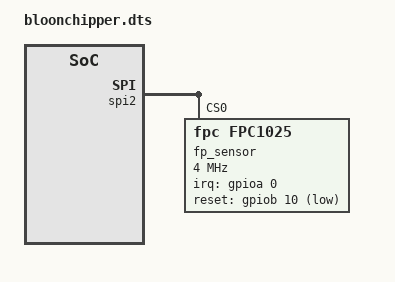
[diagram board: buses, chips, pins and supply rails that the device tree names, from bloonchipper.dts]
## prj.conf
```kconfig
# Copyright 2023 The ChromiumOS Authors
# Use of this source code is governed by a BSD-style license that can be
# found in the LICENSE file.

# Force NUM_IRQ to 97, current upstream Zephyr computes that to a lower value.
CONFIG_NUM_IRQS=97

CONFIG_BOARD_BLOONCHIPPER=y

# The NULL pointer exception page size must be a power of two
# and have size greater or equal ARM_MPU_REGION_MIN_ALIGN_AND_SIZE
CONFIG_CORTEX_M_NULL_POINTER_EXCEPTION_PAGE_SIZE=0x80

# Peripherials
CONFIG_COUNTER=y
CONFIG_DMA=y

# Power Management
CONFIG_PM=y
CONFIG_PM_DEVICE=y

# Hwinfo (used by cros-system driver for STM32)
CONFIG_HWINFO=y

# STM32 flash driver options
CONFIG_FLASH_STM32_READOUT_PROTECTION=y
CONFIG_FLASH_STM32_WRITE_PROTECT=y
CONFIG_FLASH_STM32_BLOCK_REGISTERS=y

# STM32 entropy driver options
CONFIG_ENTROPY_STM32_THR_POOL_SIZE=32
CONFIG_ENTROPY_STM32_THR_THRESHOLD=16

# IWDG watchdog
CONFIG_IWDG_STM32_INITIAL_TIMEOUT=10000
CONFIG_PLATFORM_EC_WATCHDOG_PERIOD_MS=10000
CONFIG_PLATFORM_EC_WATCHDOG_WARNING_LEADING_TIME_MS=3000
CONFIG_PLATFORM_EC_WATCHDOG_HELPER=y

# Set HOOK_TICK INTERVAL in microseconds to reload watchdog
CONFIG_CROS_EC_HOOK_TICK_INTERVAL=500000

# CrOS drivers
CONFIG_CROS_FLASH_READOUT_PROTECTION=y
CONFIG_CROS_SYSTEM_STM32=y

# Priorities
CONFIG_PLATFORM_EC_FLASH_INIT_PRIORITY=60
CONFIG_CROS_SYSTEM_INIT_PRIORITY=71
CONFIG_PLATFORM_EC_SYSTEM_PRE_INIT_PRIORITY=72

# Host Commands
CONFIG_EC_HOST_CMD_INITIALIZE_AT_BOOT=n
CONFIG_EC_HOST_CMD_HANDLER_TX_BUFFER_SIZE=549
CONFIG_EC_HOST_CMD_HANDLER_RX_BUFFER_SIZE=544
CONFIG_EC_HOST_CMD_BACKEND_SPI=y
CONFIG_EC_HOST_CMD_BACKEND_UART=y
CONFIG_EC_HOST_CMD_BACKEND_UART_TIMEOUT=30
CONFIG_UART_ASYNC_API=y

# Increase IDLE stack for the IDLE timer
CONFIG_IDLE_STACK_SIZE=550

# Enable DMA for SPI, which is used for communication with a sensor
CONFIG_SPI_STM32_DMA=y

# Avoid 32-bit K_MSEC(INT32_MAX) tick conversion overflow in spi_stm32.c
CONFIG_TIMEOUT_64BIT=y

# Software SHA256 for rollback and RW signature verification
CONFIG_PLATFORM_EC_SHA256_SW=y
CONFIG_PLATFORM_EC_SHA256_UNROLLED=y

# b/443091184
CONFIG_ASSERT=n

# Current rollback version value for bloonchipper.
CONFIG_PLATFORM_EC_ROLLBACK_VERSION=0

# Disable dropped logs tracking as limited on flash space.
CONFIG_PLATFORM_EC_HOSTCMD_CONSOLE_DROPPED_LOGS=n

# TODO(b/578101696): Enable INIT_ARCH_HW_AT_BOOT on bloonchipper.
CONFIG_INIT_ARCH_HW_AT_BOOT=n
```

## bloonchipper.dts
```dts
/* Copyright 2023 The ChromiumOS Authors.
 * Use of this source code is governed by a BSD-style license that can be
 * found in the LICENSE file.
 */

#include "soc.dtsi"
#include "gpio.dtsi"
#include "rwsig.dtsi"

#include <cros/integrated_fwid.dtsi>
#include <cros/integrated_ro_frid.dtsi>

#define FPC1025_BASE_IMAGE_PROPS \
    width = <160>; \
    height = <160>; \
    bits-per-pixel = <8>; \
    image-data-offset-bytes = <400>; \
    v4l2-pixel-format = "V4L2_PIX_FMT_GREY";

#define FPC1025_RAW_IMAGE_PROPS \
    FPC1025_BASE_IMAGE_PROPS \
    /*
     * Sensor raw image size
     *
     * Value from fpc_bep_image_get_buffer_size(): (160*160)+660
     */ \
    frame-size = <26260>;

#define FPC1025_REAL_IMAGE_PROPS \
    FPC1025_BASE_IMAGE_PROPS \
    /* Sensor real image size: (160*160) */ \
    frame-size = <25600>;

/ {
	chosen {
		cros-fp,fingerprint-sensor = &fp_sensor;
		zephyr,host-cmd-spi-backend = &spi1;
		zephyr,host-cmd-uart-backend = &usart1;
	};

	named-bbram-regions {
		compatible = "named-bbram-regions";

		scratchpad {
			offset = <0x00>;
			size = <0x02>;
		};
		saved-reset-flags {
			offset = <0x02>;
			size = <0x04>;
		};
		saved-panic-reason {
			offset = <0x06>;
			size = <0x02>;
		};
		saved-panic-info {
			offset = <0x08>;
			size = <0x02>;
		};
		saved-panic-exception {
			offset = <0x0a>;
			size = <0x02>;
		};
		saved-panic-flags {
			offset = <0x0c>;
			size = <0x02>;
		};
	};

	binman {
		pad-byte = <0xff>;

		/* First 5 sectors (4 x 16KB, 1 x 64KB) used for RO */
		wp-ro {
			offset = <0x0>;
			size = <0x20000>;
			ec-ro {
				size = <0x20000>;
				pad-byte = <0xff>;
				ro-fw {
					/*
					 * Clang doesn't emit STT_SECTION symbols (also
					 * called 'section symbols'), so 'rom_start'
					 * symbol is not available. Fortunately, Zephyr
					 * linker scripts provide '__rom_start_address'
					 * symbol which points to the beginning of
					 * 'rom_start' section.
					 */
					elf-base-sym = "__rom_start_address";
				};
			};
		};

		/* Two sectors used for rollback (128KB each) */
		rollback0 {
			offset = <0x20000>;
			size = <0x20000>;
			type = "blob";
			filename = "../build-rw/rollback_initial_data.bin";
		};

		rollback1 {
			offset = <0x40000>;
			size = <0x20000>;
			type = "blob";
			filename = "../build-rw/rollback_initial_data.bin";
		};

		/* Remaining 5 sectors (128KB each) used for RW */
		ec-rw {
			offset = <0x60000>;
			size = <0xa0000>;
			rw-fw {
				/*
				 * Clang doesn't emit STT_SECTION symbols (also
				 * called 'section symbols'), so 'rom_start'
				 * symbol is not available. Fortunately, Zephyr
				 * linker scripts provide '__rom_start_address'
				 * symbol which points to the beginning of
				 * 'rom_start' section.
				 */
				zephyr-rw {
					elf-base-sym = "__rom_start_address";
				};
			};
		};
	};
};

&flash0 {
	partitions {
		compatible = "fixed-partitions";
		#address-cells = <1>;
		#size-cells = <1>;

		/* Sixth sector is used as first rollback sector. */
		rollback0: partition@20000 {
			label = "rollback0";
			reg = <0x20000 DT_SIZE_K(128)>;
		};

		/* Seventh sector is used as second rollback sector. */
		rollback1: partition@40000 {
			label = "rollback1";
			reg = <0x40000 DT_SIZE_K(128)>;
		};
	};
};

&spi2 {
	fp_sensor: fpc1025@0 {
		compatible = "fpc,fpc1025";
		reg = <0>;
		spi-max-frequency = <4000000>;

		configs {
			compatible = "fingerprint-image-frame-params";
			config0 {
				FPC1025_RAW_IMAGE_PROPS
				capture-type = "FINGERPRINT_CAPTURE_TYPE_VENDOR_FORMAT";
			};
			config1 {
				FPC1025_REAL_IMAGE_PROPS
				capture-type = "FINGERPRINT_CAPTURE_TYPE_SIMPLE_IMAGE";
			};
			config2 {
				FPC1025_REAL_IMAGE_PROPS
				capture-type = "FINGERPRINT_CAPTURE_TYPE_PATTERN0";
			};
			config3 {
				FPC1025_REAL_IMAGE_PROPS
				capture-type = "FINGERPRINT_CAPTURE_TYPE_PATTERN1";
			};
			config4 {
				FPC1025_RAW_IMAGE_PROPS
				capture-type = "FINGERPRINT_CAPTURE_TYPE_QUALITY_TEST";
			};
			config5 {
				FPC1025_REAL_IMAGE_PROPS
				capture-type = "FINGERPRINT_CAPTURE_TYPE_RESET_TEST";
			};
		};

		irq-gpios = <&gpioa 0 (GPIO_ACTIVE_HIGH | GPIO_PULL_DOWN)>;
		reset-gpios = <&gpiob 10 GPIO_ACTIVE_LOW>;
	};
};
```

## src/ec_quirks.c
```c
/* Copyright 2023 The ChromiumOS Authors
 * Use of this source code is governed by a BSD-style license that can be
 * found in the LICENSE file.
 */

#include "system.h"

#include <zephyr/device.h>
#include <zephyr/devicetree.h>
#include <zephyr/drivers/clock_control/stm32_clock_control.h>
#include <zephyr/drivers/reset.h>
#include <zephyr/drivers/timer/system_timer.h>
#include <zephyr/init.h>
#include <zephyr/kernel.h>

#include <cmsis_core.h>
#include <stm32f4xx_ll_tim.h>

#define RESET_PERIPHERAL(idx) \
	reset_line_toggle_dt(&(struct reset_dt_spec)RESET_DT_SPEC_GET(idx));

#define TIMER2_NODE DT_NODELABEL(timers2)

void chip_pre_system_jump(void)
{
	/* Reset timers and UARTs to the defaults. */
	DT_FOREACH_STATUS_OKAY(st_stm32_timers, RESET_PERIPHERAL);
	DT_FOREACH_STATUS_OKAY(st_stm32_uart, RESET_PERIPHERAL);

	/*
	 * Disable system clock (Cortex-M Systick it this case) because it's
	 * unused in EC.
	 */
	sys_clock_disable();

	/*
	 * Legacy EC only uses PRIMASK for interrupt masking and does not
	 * clear BASEPRI in its reset handler. Mask PRIMASK and clear
	 * BASEPRI before jumping so Legacy EC enters init.S with
	 * PRIMASK=1 and BASEPRI=0.
	 */
	__disable_irq();
	__set_BASEPRI(0);
	__DSB();
	__ISB();
}

/*
 * Old FPMCU RO (EC based) uses TIM2 to measure system uptime and schedule
 * tasks. Zephyr uses different counter for these purposes, so disable it.
 */
static int disable_tim2(void)
{
	struct stm32_pclken pclken = { .bus = DT_CLOCKS_CELL(TIMER2_NODE, bus),
				       .enr = DT_CLOCKS_CELL(TIMER2_NODE,
							     bits) };
	LL_TIM_DisableCounter((TIM_TypeDef *)(DT_REG_ADDR(TIMER2_NODE)));
	irq_disable(DT_IRQN(TIMER2_NODE));

	clock_control_off(DEVICE_DT_GET(STM32_CLOCK_CONTROL_NODE),
			  (clock_control_subsys_t)&pclken);

	return 0;
}
SYS_INIT(disable_tim2, POST_KERNEL, CONFIG_APPLICATION_INIT_PRIORITY);
```
